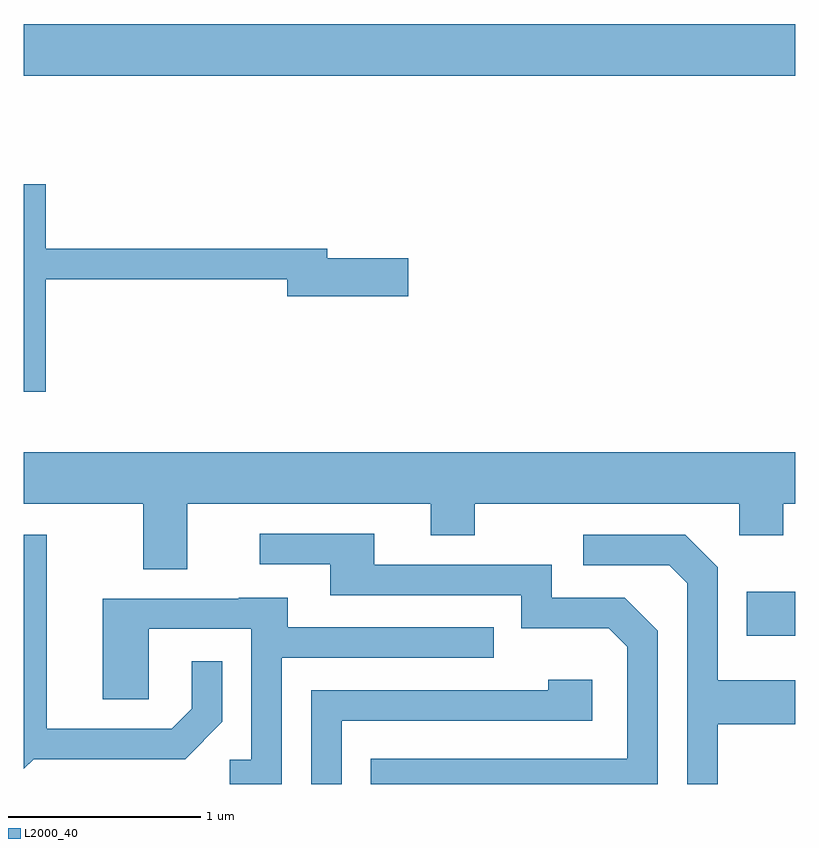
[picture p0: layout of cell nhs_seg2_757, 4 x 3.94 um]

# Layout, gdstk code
import gdstk
lib = gdstk.Library(unit=1e-6, precision=1e-09)
def R(c, l, rs):  # rectangles x0, y0, x1, y1
    for r in rs: c.add(gdstk.rectangle(r[:2], r[2:], *l))
def P(c, l, *ps):  # polygons
    for p in ps: c.add(gdstk.Polygon(p, *l))
L2000_40 = (2000, 40)

nhs_seg2_757 = lib.new_cell('nhs_seg2_757')
R(nhs_seg2_757, L2000_40, [(211.361,996.571,211.611,996.799), (207.611,999.476,211.611,999.744)])
P(nhs_seg2_757, L2000_40, [(207.724,998.421),(208.976,998.421),(208.976,998.331),(209.604,998.331),(209.604,998.529),(209.184,998.529),(209.184,998.579),(207.724,998.579),(207.724,998.914),(207.611,998.914),(207.611,997.836),(207.724,997.836)],
  [(208.459,997.256),(209.721,997.256),(209.721,997.091),(209.949,997.091),(209.949,997.256),(211.321,997.256),(211.321,997.091),(211.549,997.091),(211.549,997.256),(211.611,997.256),(211.611,997.524),(207.611,997.524),(207.611,997.256),(208.231,997.256),(208.231,996.916),(208.459,996.916)],
  [(210.899,996.597),(210.727,996.769),(210.349,996.769),(210.349,996.939),(209.429,996.939),(209.429,997.099),(208.833,997.099),(208.833,996.941),(209.201,996.941),(209.201,996.781),(210.191,996.781),(210.191,996.611),(210.644,996.611),(210.741,996.514),(210.741,995.934),(209.411,995.934),(209.411,995.802),(210.899,995.802)],
  [(207.662,995.931),(208.447,995.931),(208.639,996.124),(208.639,996.438),(208.481,996.438),(208.481,996.192),(208.379,996.089),(207.729,996.089),(207.729,997.094),(207.611,997.094),(207.611,995.88)],
  [(211.209,996.111),(211.611,996.111),(211.611,996.339),(211.209,996.339),(211.209,996.927),(211.042,997.094),(210.513,997.094),(210.513,996.936),(210.959,996.936),(211.051,996.844),(211.051,995.802),(211.209,995.802)],
  [(208.949,996.456),(210.048,996.456),(210.048,996.614),(208.979,996.614),(208.979,996.769),(208.725,996.769),(208.725,996.764),(208.021,996.764),(208.021,996.241),(208.259,996.241),(208.259,996.606),(208.791,996.606),(208.791,995.929),(208.678,995.929),(208.678,995.802),(208.949,995.802)],
  [(209.259,996.131),(210.559,996.131),(210.559,996.344),(210.331,996.344),(210.331,996.289),(209.101,996.289),(209.101,995.802),(209.259,995.802)])

lib.write_gds('nhs_seg2_757.gds')
